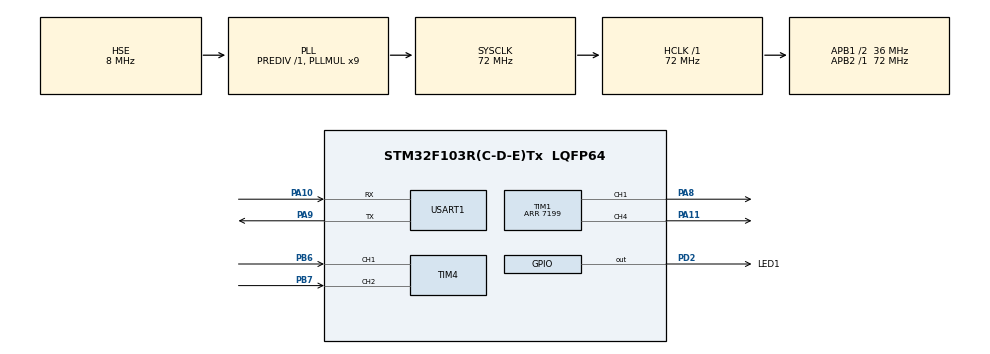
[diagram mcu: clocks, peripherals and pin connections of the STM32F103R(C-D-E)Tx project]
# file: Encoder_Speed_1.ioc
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Mcu.Family=STM32F1
Mcu.Name=STM32F103R(C-D-E)Tx
Mcu.Package=LQFP64
NVIC.PriorityGroup=NVIC_PRIORITYGROUP_4
NVIC.TIM2_IRQn=true\:1\:0\:true\:false\:true\:true\:true
NVIC.TIM4_IRQn=true\:0\:0\:false\:false\:true\:true\:true
PA10.Mode=Asynchronous
PA10.Signal=USART1_RX
PA11.Signal=S_TIM1_CH4
PA8.Signal=S_TIM1_CH1
PA9.Mode=Asynchronous
PA9.Signal=USART1_TX
PB6.Signal=S_TIM4_CH1
PB7.Signal=S_TIM4_CH2
PD0-OSC_IN.Mode=HSE-External-Oscillator
PD0-OSC_IN.Signal=RCC_OSC_IN
PD1-OSC_OUT.Mode=HSE-External-Oscillator
PD1-OSC_OUT.Signal=RCC_OSC_OUT
PD2.GPIO_Label=LED1
PD2.GPIO_Speed=GPIO_SPEED_FREQ_HIGH
PD2.PinState=GPIO_PIN_SET
PD2.Signal=GPIO_Output
ProjectManager.HeapSize=0x200
ProjectManager.StackSize=0x400
ProjectManager.TargetToolchain=MDK-ARM V5
RCC.AHBFreq_Value=72000000
RCC.APB1CLKDivider=RCC_HCLK_DIV2
RCC.APB1Freq_Value=36000000
RCC.APB1TimFreq_Value=72000000
RCC.APB2Freq_Value=72000000
RCC.APB2TimFreq_Value=72000000
RCC.HCLKFreq_Value=72000000
RCC.PLLMUL=RCC_PLL_MUL9
RCC.PLLSourceVirtual=RCC_PLLSOURCE_HSE
RCC.SYSCLKFreq_VALUE=72000000
RCC.SYSCLKSource=RCC_SYSCLKSOURCE_PLLCLK
RCC.USBFreq_Value=72000000
SH.S_TIM1_CH1.0=TIM1_CH1,PWM Generation1 CH1
SH.S_TIM1_CH4.0=TIM1_CH4,PWM Generation4 CH4
SH.S_TIM4_CH1.0=TIM4_CH1,Encoder_Interface
SH.S_TIM4_CH2.0=TIM4_CH2,Encoder_Interface
TIM1.Channel-PWM\ Generation1\ CH1=TIM_CHANNEL_1
TIM1.Channel-PWM\ Generation4\ CH4=TIM_CHANNEL_4
TIM1.Period=7199
TIM2.AutoReloadPreload=TIM_AUTORELOAD_PRELOAD_ENABLE
TIM2.Period=99
TIM2.Prescaler=7199
USART1.VirtualMode=VM_ASYNC
VP_SYS_VS_ND.Mode=No_Debug
VP_TIM2_VS_ClockSourceINT.Mode=Internal
board=custom

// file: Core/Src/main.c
/* USER CODE BEGIN Header */
/**
  ******************************************************************************
  * @file           : main.c
  * @brief          : Main program body
  ******************************************************************************
  * @attention
  *
  * <h2><center>&copy; Copyright (c) 2021 STMicroelectronics.
  * All rights reserved.</center></h2>
  *
  * This software component is licensed by ST under BSD 3-Clause license,
  * the "License"; You may not use this file except in compliance with the
  * License. You may obtain a copy of the License at:
  *                        opensource.org/licenses/BSD-3-Clause
  *
  ******************************************************************************
  */
/* USER CODE END Header */
#include "main.h"
#include "tim.h"
#include "usart.h"
#include "gpio.h"

/* USER CODE BEGIN Includes */
#include "stdio.h"
#include "math.h"
/* USER CODE END Includes */

/* USER CODE BEGIN PV */
unsigned int MotorSpeed;  // 电机当前速度数值，从编码器中获取
int MotorOutput;		      // 电机输出
/* USER CODE END PV */

void SystemClock_Config(void);

/* USER CODE BEGIN 0 */
int fputc(int ch, FILE *p)
{
	while(!(USART1->SR & (1<<7)));
	USART1->DR = ch;

	return ch;
}
/* USER CODE END 0 */

int main(void)
{

  /* MCU Configuration--------------------------------------------------------*/

  /* Reset of all peripherals, Initializes the Flash interface and the Systick. */
  HAL_Init();

  /* Configure the system clock */
  SystemClock_Config();

  /* Initialize all configured peripherals */
  MX_GPIO_Init();
  MX_TIM1_Init();
  MX_TIM2_Init();
  MX_TIM4_Init();
  MX_USART1_UART_Init();
  /* USER CODE BEGIN 2 */
  HAL_TIM_PWM_Start(&htim1, TIM_CHANNEL_1);				// 开启PWM
  HAL_TIM_Encoder_Start(&htim4, TIM_CHANNEL_1);   // 开启编码器A
	HAL_TIM_Encoder_Start(&htim4, TIM_CHANNEL_2);   // 开启编码器B
  HAL_TIM_Base_Start_IT(&htim2);                  // 使能定时器2中断
  /* USER CODE END 2 */

  /* Infinite loop */
  while (1)
  {

  }
}

void SystemClock_Config(void)
{
  RCC_OscInitTypeDef RCC_OscInitStruct = {0};
  RCC_ClkInitTypeDef RCC_ClkInitStruct = {0};

  /** Initializes the RCC Oscillators according to the specified parameters
  * in the RCC_OscInitTypeDef structure.
  */
  RCC_OscInitStruct.OscillatorType = RCC_OSCILLATORTYPE_HSE;
  RCC_OscInitStruct.HSEState = RCC_HSE_ON;
  RCC_OscInitStruct.HSEPredivValue = RCC_HSE_PREDIV_DIV1;
  RCC_OscInitStruct.HSIState = RCC_HSI_ON;
  RCC_OscInitStruct.PLL.PLLState = RCC_PLL_ON;
  RCC_OscInitStruct.PLL.PLLSource = RCC_PLLSOURCE_HSE;
  RCC_OscInitStruct.PLL.PLLMUL = RCC_PLL_MUL9;
  if (HAL_RCC_OscConfig(&RCC_OscInitStruct) != HAL_OK)
  {
    Error_Handler();
  }
  /** Initializes the CPU, AHB and APB buses clocks
  */
  RCC_ClkInitStruct.ClockType = RCC_CLOCKTYPE_HCLK|RCC_CLOCKTYPE_SYSCLK
                              |RCC_CLOCKTYPE_PCLK1|RCC_CLOCKTYPE_PCLK2;
  RCC_ClkInitStruct.SYSCLKSource = RCC_SYSCLKSOURCE_PLLCLK;
  RCC_ClkInitStruct.AHBCLKDivider = RCC_SYSCLK_DIV1;
  RCC_ClkInitStruct.APB1CLKDivider = RCC_HCLK_DIV2;
  RCC_ClkInitStruct.APB2CLKDivider = RCC_HCLK_DIV1;

  if (HAL_RCC_ClockConfig(&RCC_ClkInitStruct, FLASH_LATENCY_2) != HAL_OK)
  {
    Error_Handler();
  }
}

/* USER CODE BEGIN 4 */
void HAL_TIM_PeriodElapsedCallback(TIM_HandleTypeDef *htim)
{
    static unsigned char i = 0;
    if (htim == (&htim2))
    {
        //1.获取电机速度
        MotorSpeed = (short)(__HAL_TIM_GET_COUNTER(&htim4)/18);
        // TIM4计数器获得电机脉冲，该电机在10ms采样的脉冲/18则为实际转速的rpm
        __HAL_TIM_SET_COUNTER(&htim4,0);  // 计数器清零

        //2.将占空比导入至电机控制函数
        MotorOutput=3600;
        __HAL_TIM_SET_COMPARE(&htim1, TIM_CHANNEL_1, MotorOutput);
        MotorOutput=MotorOutput*100/7200; // 占空比（按最高100%计算，串口打印）
        i++;
        if(i>100)
        {
          HAL_GPIO_TogglePin(GPIOD, GPIO_PIN_2);
          // 打印定时器4的计数值，short（-32768——32767）
          printf("Encoder = %d moto = %d \r\n",MotorSpeed,MotorOutput);
          i=0;
        }
    }
}
/* USER CODE END 4 */

void Error_Handler(void)
{
}

/************************ (C) COPYRIGHT STMicroelectronics *****END OF FILE****/
